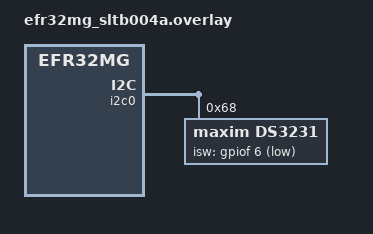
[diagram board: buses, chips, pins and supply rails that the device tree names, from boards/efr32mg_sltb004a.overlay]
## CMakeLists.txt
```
# SPDX-License-Identifier: Apache-2.0

cmake_minimum_required(VERSION 3.20.0)
find_package(Zephyr REQUIRED HINTS $ENV{ZEPHYR_BASE})
project(maxim_ds3231)

FILE(GLOB app_sources src/*.c)
target_sources(app PRIVATE ${app_sources})
```

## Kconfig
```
# Copyright (c) 2019 Peter Bigot Consulting, LLC
#
# SPDX-License-Identifier: Apache-2.0
#

config APP_SET_ALIGNED_CLOCK
	bool "Option to align RTC with time-since-boot"
	help
	  If enabled this reads the RTC then sets it so that uptime
	  shows as being relative to the start of the next hour.

source "Kconfig"
```

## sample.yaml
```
common:
  filter: CONFIG_FULL_LIBC_SUPPORTED
sample:
  name: Maxim DS3231 RTC
tests:
  sample.drivers.counter.maxim_ds3231:
    build_only: true
    platform_allow:
      - sltb004a
      - frdm_k64f
      - nrf51dk/nrf51822
      - nucleo_l476rg
      - particle_xenon
    integration_platforms:
      - sltb004a
```

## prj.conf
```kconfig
CONFIG_PRINTK=y

CONFIG_I2C=y
CONFIG_COUNTER=y
CONFIG_COUNTER_INIT_PRIORITY=65

# Minimal libc doesn't have strftime()
CONFIG_REQUIRES_FULL_LIBC=y

# Optional step that syncs RTC and local clock.  Don't enable this if
# your RTC has already been synchronized and you want to keep its
# setting.
CONFIG_APP_SET_ALIGNED_CLOCK=y

#CONFIG_LOG=y
#CONFIG_COUNTER_LOG_LEVEL_DBG=y
```

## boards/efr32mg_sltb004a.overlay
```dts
/*
 * Copyright (c) 2019 Peter Bigot Consulting, LLC
 *
 * SPDX-License-Identifier: Apache-2.0
 */

&i2c0 { /* SDA H16=PC10, SCL H15=PC11, ISW H13=PF6 */
	status = "okay";
	ds3231: ds3231@68 {
		compatible = "maxim,ds3231";
		reg = <0x68>;
		isw-gpios = <&gpiof 6 (GPIO_PULL_UP | GPIO_ACTIVE_LOW)>;
	};
};
```

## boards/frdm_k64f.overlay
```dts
/*
 * Copyright (c) 2019 Peter Bigot Consulting, LLC
 *
 * SPDX-License-Identifier: Apache-2.0
 */

&i2c0 {	/* SDA PTE25, SCL PTE24, ISW PTE26 */
	status = "okay";
	ds3231: ds3231@68 {
		compatible = "maxim,ds3231";
		reg = <0x68>;
		isw-gpios = <&gpioe 26 (GPIO_PULL_UP | GPIO_ACTIVE_LOW)>;
	};
};
```

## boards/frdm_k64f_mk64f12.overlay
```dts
/*
 * Copyright (c) 2019 Peter Bigot Consulting, LLC
 *
 * SPDX-License-Identifier: Apache-2.0
 */

&i2c0 { /* SDA PTE25, SCL PTE24, ISW PTE26 */
	status = "okay";
	ds3231: ds3231@68 {
		compatible = "maxim,ds3231";
		reg = <0x68>;
		isw-gpios = <&gpioe 26 (GPIO_PULL_UP | GPIO_ACTIVE_LOW)>;
	};
};
```

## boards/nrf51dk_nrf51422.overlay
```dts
/*
 * Copyright (c) 2019 Peter Bigot Consulting, LLC
 *
 * SPDX-License-Identifier: Apache-2.0
 */

&i2c0 { /* SDA 30, SCL 7 */
	status = "okay";
	ds3231: ds3231@68 {
		compatible = "maxim,ds3231";
		reg = <0x68>;
		isw-gpios = <&gpio0 0 (GPIO_PULL_UP | GPIO_ACTIVE_LOW)>;
	};
};
```

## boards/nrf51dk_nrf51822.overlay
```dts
/*
 * Copyright (c) 2019 Peter Bigot Consulting, LLC
 *
 * SPDX-License-Identifier: Apache-2.0
 */

&i2c0 {	/* SDA 30, SCL 7 */
	status = "okay";
	ds3231: ds3231@68 {
		compatible = "maxim,ds3231";
		reg = <0x68>;
		isw-gpios = <&gpio0 0 (GPIO_PULL_UP | GPIO_ACTIVE_LOW)>;
	};
};
```

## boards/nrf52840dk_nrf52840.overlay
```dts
/*
 * Copyright (c) 2019 Peter Bigot Consulting, LLC
 *
 * SPDX-License-Identifier: Apache-2.0
 */

&i2c0 { /* SDA P0.26, SCL P0.27 */
	status = "okay";

	ds3231: ds3231@68 {
		compatible = "maxim,ds3231";
		reg = <0x68>;
		isw-gpios = <&gpio0 0 (GPIO_PULL_UP | GPIO_ACTIVE_LOW)>;
	};
};
```

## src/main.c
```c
/*
 * Copyright (c) 2019-2020 Peter Bigot Consulting, LLC
 *
 * SPDX-License-Identifier: Apache-2.0
 */

#include <stdio.h>

#include <zephyr/kernel.h>
#include <zephyr/device.h>
#include <zephyr/drivers/counter.h>
#include <zephyr/sys/printk.h>
#include <zephyr/drivers/rtc/maxim_ds3231.h>

/* Format times as: YYYY-MM-DD HH:MM:SS DOW DOY */
static const char *format_time(time_t time,
			       long nsec)
{
	static char buf[64];
	char *bp = buf;
	char *const bpe = bp + sizeof(buf);
	struct tm tv;
	struct tm *tp = gmtime_r(&time, &tv);

	bp += strftime(bp, bpe - bp, "%Y-%m-%d %H:%M:%S", tp);
	if (nsec >= 0) {
		bp += snprintf(bp, bpe - bp, ".%09lu", nsec);
	}
	bp += strftime(bp, bpe - bp, " %a %j", tp);
	return buf;
}

static void sec_counter_callback(const struct device *dev,
				 uint8_t id,
				 uint32_t ticks,
				 void *ud)
{
	printk("Counter callback at %u ms, id %d, ticks %u, ud %p\n",
	       k_uptime_get_32(), id, ticks, ud);
}

static void sec_alarm_handler(const struct device *dev,
			      uint8_t id,
			      uint32_t syncclock,
			      void *ud)
{
	uint32_t now = maxim_ds3231_read_syncclock(dev);
	struct counter_alarm_cfg alarm = {
		.callback = sec_counter_callback,
		.ticks = 10,
		.user_data = ud,
	};

	printk("setting channel alarm\n");
	int rc = counter_set_channel_alarm(dev, id, &alarm);

	printk("Sec signaled at %u ms, param %p, delay %u; set %d\n",
	       k_uptime_get_32(), ud, now - syncclock, rc);
}


/** Calculate the normalized result of a - b.
 *
 * For both inputs and outputs tv_nsec must be in the range [0,
 * NSEC_PER_SEC).  tv_sec may be negative, zero, or positive.
 */
void timespec_subtract(struct timespec *amb,
		       const struct timespec *a,
		       const struct timespec *b)
{
	if (a->tv_nsec >= b->tv_nsec) {
		amb->tv_nsec = a->tv_nsec - b->tv_nsec;
		amb->tv_sec = a->tv_sec - b->tv_sec;
	} else {
		amb->tv_nsec = NSEC_PER_SEC + a->tv_nsec - b->tv_nsec;
		amb->tv_sec = a->tv_sec - b->tv_sec - 1;
	}
}

/** Calculate the normalized result of a + b.
 *
 * For both inputs and outputs tv_nsec must be in the range [0,
 * NSEC_PER_SEC).  tv_sec may be negative, zero, or positive.
 */
void timespec_add(struct timespec *apb,
		  const struct timespec *a,
		  const struct timespec *b)
{
	apb->tv_nsec = a->tv_nsec + b->tv_nsec;
	apb->tv_sec = a->tv_sec + b->tv_sec;
	if (apb->tv_nsec >= NSEC_PER_SEC) {
		apb->tv_sec += 1;
		apb->tv_nsec -= NSEC_PER_SEC;
	}
}

static void min_alarm_handler(const struct device *dev,
			      uint8_t id,
			      uint32_t syncclock,
			      void *ud)
{
	uint32_t time = 0;
	struct maxim_ds3231_syncpoint sp = { 0 };

	(void)counter_get_value(dev, &time);

	uint32_t uptime = k_uptime_get_32();
	uint8_t us = uptime % 1000U;

	uptime /= 1000U;
	uint8_t se = uptime % 60U;

	uptime /= 60U;
	uint8_t mn = uptime % 60U;

	uptime /= 60U;
	uint8_t hr = uptime;

	(void)maxim_ds3231_get_syncpoint(dev, &sp);

	uint32_t offset_syncclock = syncclock - sp.syncclock;
	uint32_t offset_s = time - (uint32_t)sp.rtc.tv_sec;
	uint32_t syncclock_Hz = maxim_ds3231_syncclock_frequency(dev);
	struct timespec adj;

	adj.tv_sec = offset_syncclock / syncclock_Hz;
	adj.tv_nsec = (offset_syncclock % syncclock_Hz)
		* (uint64_t)NSEC_PER_SEC / syncclock_Hz;

	int32_t err_ppm = (int32_t)(offset_syncclock
				- offset_s * syncclock_Hz)
			* (int64_t)1000000
			/ (int32_t)syncclock_Hz / (int32_t)offset_s;
	struct timespec *ts = &sp.rtc;

	ts->tv_sec += adj.tv_sec;
	ts->tv_nsec += adj.tv_nsec;
	if (ts->tv_nsec >= NSEC_PER_SEC) {
		ts->tv_sec += 1;
		ts->tv_nsec -= NSEC_PER_SEC;
	}

	printk("%s: adj %d.%09lu, uptime %u:%02u:%02u.%03u, clk err %d ppm\n",
	       format_time(time, -1),
	       (uint32_t)(ts->tv_sec - time), ts->tv_nsec,
	       hr, mn, se, us, err_ppm);
}

struct maxim_ds3231_alarm sec_alarm;
struct maxim_ds3231_alarm min_alarm;

static void show_counter(const struct device *ds3231)
{
	uint32_t now = 0;

	printk("\nCounter at %p\n", ds3231);
	printk("\tMax top value: %u (%08x)\n",
	       counter_get_max_top_value(ds3231),
	       counter_get_max_top_value(ds3231));
	printk("\t%u channels\n", counter_get_num_of_channels(ds3231));
	printk("\t%u Hz\n", counter_get_frequency(ds3231));

	printk("Top counter value: %u (%08x)\n",
	       counter_get_top_value(ds3231),
	       counter_get_top_value(ds3231));

	(void)counter_get_value(ds3231, &now);

	printk("Now %u: %s\n", now, format_time(now, -1));
}

/* Take the currently stored RTC time and round it up to the next
 * hour.  Program the RTC as though this time had occurred at the
 * moment the application booted.
 *
 * Subsequent reads of the RTC time adjusted based on a syncpoint
 * should match the uptime relative to the programmed hour.
 */
static void set_aligned_clock(const struct device *ds3231)
{
	if (!IS_ENABLED(CONFIG_APP_SET_ALIGNED_CLOCK)) {
		return;
	}

	uint32_t syncclock_Hz = maxim_ds3231_syncclock_frequency(ds3231);
	uint32_t syncclock = maxim_ds3231_read_syncclock(ds3231);
	uint32_t now = 0;
	int rc = counter_get_value(ds3231, &now);
	uint32_t align_hour = now + 3600 - (now % 3600);

	struct maxim_ds3231_syncpoint sp = {
		.rtc = {
			.tv_sec = align_hour,
			.tv_nsec = (uint64_t)NSEC_PER_SEC * syncclock / syncclock_Hz,
		},
		.syncclock = syncclock,
	};

	struct k_poll_signal ss;
	struct sys_notify notify;
	struct k_poll_event sevt = K_POLL_EVENT_INITIALIZER(K_POLL_TYPE_SIGNAL,
							    K_POLL_MODE_NOTIFY_ONLY,
							    &ss);

	k_poll_signal_init(&ss);
	sys_notify_init_signal(&notify, &ss);

	uint32_t t0 = k_uptime_get_32();

	rc = maxim_ds3231_set(ds3231, &sp, &notify);

	printk("\nSet %s at %u ms past: %d\n", format_time(sp.rtc.tv_sec, sp.rtc.tv_nsec),
	       syncclock, rc);

	/* Wait for the set to complete */
	rc = k_poll(&sevt, 1, K_FOREVER);

	uint32_t t1 = k_uptime_get_32();

	/* Delay so log messages from sync can complete */
	k_sleep(K_MSEC(100));
	printk("Synchronize final: %d %d in %u ms\n", rc, ss.result, t1 - t0);

	rc = maxim_ds3231_get_syncpoint(ds3231, &sp);
	printk("wrote sync %d: %u %u at %u\n", rc,
	       (uint32_t)sp.rtc.tv_sec, (uint32_t)sp.rtc.tv_nsec,
	       sp.syncclock);
}

int main(void)
{
	const struct device *const ds3231 = DEVICE_DT_GET_ONE(maxim_ds3231);

	if (!device_is_ready(ds3231)) {
		printk("%s: device not ready.\n", ds3231->name);
		return 0;
	}

	uint32_t syncclock_Hz = maxim_ds3231_syncclock_frequency(ds3231);

	printk("DS3231 on %s syncclock %u Hz\n\n", CONFIG_BOARD, syncclock_Hz);

	int rc = maxim_ds3231_stat_update(ds3231, 0, MAXIM_DS3231_REG_STAT_OSF);

	if (rc >= 0) {
		printk("DS3231 has%s experienced an oscillator fault\n",
		       (rc & MAXIM_DS3231_REG_STAT_OSF) ? "" : " not");
	} else {
		printk("DS3231 stat fetch failed: %d\n", rc);
		return 0;
	}

	/* Show the DS3231 counter properties */
	show_counter(ds3231);

	/* Show the DS3231 ctrl and ctrl_stat register values */
	printk("\nDS3231 ctrl %02x ; ctrl_stat %02x\n",
	       maxim_ds3231_ctrl_update(ds3231, 0, 0),
	       maxim_ds3231_stat_update(ds3231, 0, 0));

	/* Test maxim_ds3231_set, if enabled */
	set_aligned_clock(ds3231);

	struct k_poll_signal ss;
	struct sys_notify notify;
	struct maxim_ds3231_syncpoint sp = { 0 };
	struct k_poll_event sevt = K_POLL_EVENT_INITIALIZER(K_POLL_TYPE_SIGNAL,
							    K_POLL_MODE_NOTIFY_ONLY,
							    &ss);

	k_poll_signal_init(&ss);
	sys_notify_init_signal(&notify, &ss);

	uint32_t t0 = k_uptime_get_32();

	rc = maxim_ds3231_synchronize(ds3231, &notify);
	printk("\nSynchronize init: %d\n", rc);

	rc = k_poll(&sevt, 1, K_FOREVER);

	uint32_t t1 = k_uptime_get_32();

	k_sleep(K_MSEC(100));   /* wait for log messages */

	printk("Synchronize complete in %u ms: %d %d\n", t1 - t0, rc, ss.result);

	rc = maxim_ds3231_get_syncpoint(ds3231, &sp);
	printk("\nread sync %d: %u %u at %u\n", rc,
	       (uint32_t)sp.rtc.tv_sec, (uint32_t)sp.rtc.tv_nsec,
	       sp.syncclock);

	rc = maxim_ds3231_get_alarm(ds3231, 0, &sec_alarm);
	printk("\nAlarm 1 flags %x at %u: %d\n", sec_alarm.flags,
	       (uint32_t)sec_alarm.time, rc);
	rc = maxim_ds3231_get_alarm(ds3231, 1, &min_alarm);
	printk("Alarm 2 flags %x at %u: %d\n", min_alarm.flags,
	       (uint32_t)min_alarm.time, rc);

	/* One-shot auto-disable callback in 5 s.  The handler will
	 * then use the base device counter API to schedule a second
	 * alarm 10 s later.
	 */
	sec_alarm.time = sp.rtc.tv_sec + 5;
	sec_alarm.flags = MAXIM_DS3231_ALARM_FLAGS_AUTODISABLE
			  | MAXIM_DS3231_ALARM_FLAGS_DOW;
	sec_alarm.handler = sec_alarm_handler;
	sec_alarm.user_data = &sec_alarm;

	printk("Min Sec base time: %s\n", format_time(sec_alarm.time, -1));

	/* Repeating callback at rollover to a new minute. */
	min_alarm.time = sec_alarm.time;
	min_alarm.flags = 0
			  | MAXIM_DS3231_ALARM_FLAGS_IGNDA
			  | MAXIM_DS3231_ALARM_FLAGS_IGNHR
			  | MAXIM_DS3231_ALARM_FLAGS_IGNMN
			  | MAXIM_DS3231_ALARM_FLAGS_IGNSE;
	min_alarm.handler = min_alarm_handler;

	rc = maxim_ds3231_set_alarm(ds3231, 0, &sec_alarm);
	printk("Set sec alarm %x at %u ~ %s: %d\n", sec_alarm.flags,
	       (uint32_t)sec_alarm.time, format_time(sec_alarm.time, -1), rc);

	rc = maxim_ds3231_set_alarm(ds3231, 1, &min_alarm);
	printk("Set min alarm flags %x at %u ~ %s: %d\n", min_alarm.flags,
	       (uint32_t)min_alarm.time, format_time(min_alarm.time, -1), rc);

	printk("%u ms in: get alarms: %d %d\n", k_uptime_get_32(),
	       maxim_ds3231_get_alarm(ds3231, 0, &sec_alarm),
	       maxim_ds3231_get_alarm(ds3231, 1, &min_alarm));
	if (rc >= 0) {
		printk("Sec alarm flags %x at %u ~ %s\n", sec_alarm.flags,
		       (uint32_t)sec_alarm.time, format_time(sec_alarm.time, -1));

		printk("Min alarm flags %x at %u ~ %s\n", min_alarm.flags,
		       (uint32_t)min_alarm.time, format_time(min_alarm.time, -1));
	}

	k_sleep(K_FOREVER);
	return 0;
}
```
